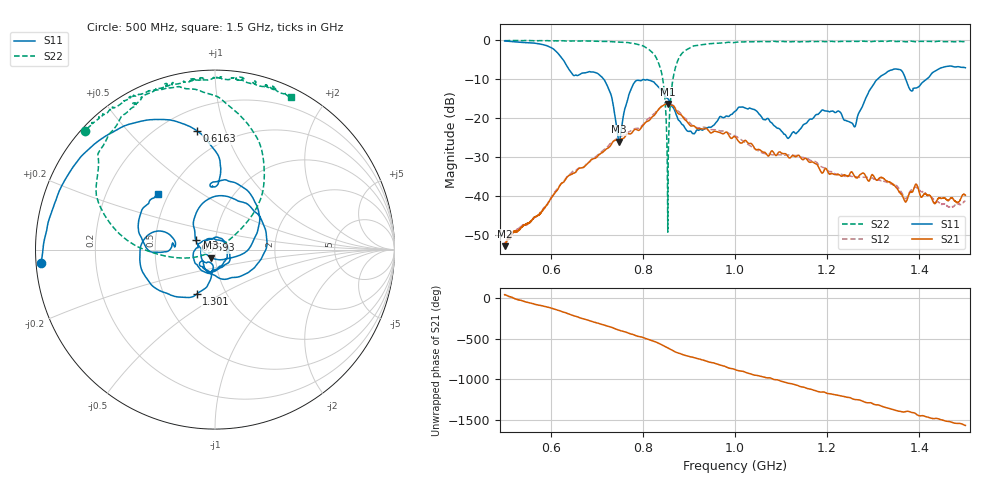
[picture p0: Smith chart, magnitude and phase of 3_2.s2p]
!Agilent Technologies,E8364B,US42250235,A.06.04.32
!Agilent E8364B: A.06.04.32
!Date: Thursday, October 01, 2020 11:02:34
!Correction: S11(Full 2 Port(1,2)) S21(Full 2 Port(1,2)) S12(Full 2 Port(1,2)) S22(Full 2 Port(1,2))
!S2P File: Measurements: S11, S21, S12, S22:
# Hz S  dB  R 50
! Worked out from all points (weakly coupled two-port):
!   2650 points, 500 MHz to 1.5 GHz, reference 50 ohm
!   highest |S21| = -16.40 dB at 853.7 MHz (marker M1); lowest = -52.9 dB at 500.4 MHz (marker M2)
!   lowest |S11| = -26.1 dB at 748.4 MHz (marker M3), VSWR 1.10, Z = 47.8 - j4.29 ohm
!   |S11| at or under -10 dB: 714.7 MHz to 1.31 GHz (595.4 MHz wide, 58.8 % of centre); 1.37 GHz to 1.416 GHz (46.15 MHz wide, 3.31 % of centre)
!   |S22| runs from -49.3 to -0.1 dB; largest |S21 - S12| = 0.013
!   S11 on the Smith chart (normalised r, x): 500 MHz: 0.01, -0.04; 616.3 MHz: 0.33, +0.80; 759.3 MHz: 0.80, +0.09; 1.301 GHz: 0.73, -0.39; 1.5 GHz: 0.44, +0.34
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5e8  -0.26 -175.6  -52.88 42.7  -52.25 41.0  -0.18 137.6
5.003775e8  -0.26 -175.8  -52.89 44.0  -52.25 41.1  -0.18 137.5
5.637977e8  -0.81 147.2  -45.48 -73.3  -45.64 -73.5  -0.20 132.6
6.162703e8  -3.48 98.7  -38.15 -148.6  -37.86 -150.0  -0.24 126.2
6.668554e8  -8.58 93.0  -32.80 110.5  -32.77 109.7  -0.27 118.9
7.17818e8  -10.55 33.0  -28.29 24.7  -27.93 25.2  -0.38 113.3
7.483956e8  -26.12 -115.0  -25.54 -35.9  -24.93 -33.9  -0.55 106.7
7.593431e8  -18.46 153.7  -25.10 -53.2  -24.35 -54.4  -0.61 104.0
7.846357e8  -10.51 88.6  -22.92 -102.8  -22.68 -102.9  -1.01 95.7
8.337108e8  -12.08 -19.0  -17.86 165.1  -17.79 162.1  -5.81 57.6
8.442809e8  -13.53 -42.9  -16.80 135.2  -16.72 133.6  -10.84 43.0
8.537184e8  -15.01 -66.8  -16.40 106.6  -16.25 105.7  -43.09 20.7
8.657984e8  -17.33 -101.8  -16.84 70.8  -16.80 69.7  -9.72 -175.9
8.824085e8  -21.22 -152.3  -19.18 32.8  -18.91 29.4  -3.83 162.7
1.000189e9  -18.31 -92.5  -24.83 -161.6  -24.61 -168.2  -0.63 116.7
1.115327e9  -25.25 80.9  -30.01 30.7  -29.50 30.6  -0.47 103.4
1.166667e9  -20.31 -74.0  -31.27 -46.6  -31.03 -50.5  -0.35 98.1
1.258777e9  -22.24 -115.6  -34.84 -168.6  -35.13 -166.6  -0.37 89.3
1.30068e9  -11.42 -112.5  -34.83 132.0  -35.59 133.1  -0.37 84.2
1.333522e9  -7.95 -148.7  -36.40 81.6  -36.66 85.9  -0.31 80.5
1.383352e9  -13.09 172.5  -39.09 29.9  -38.36 33.3  -0.31 77.1
1.5e9  -7.12 135.7  -39.79 -130.1  -41.22 -115.7  -0.46 63.5
